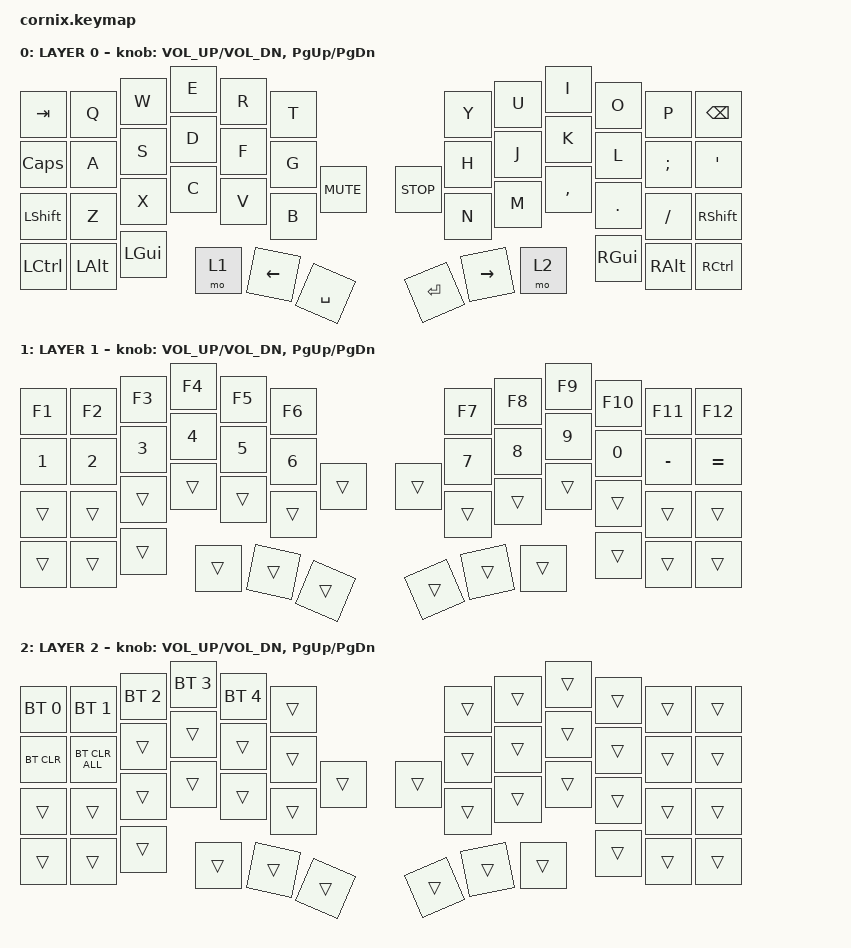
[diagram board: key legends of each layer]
/*
 * Copyright (c) 2020 The ZMK Contributors
 *
 * SPDX-License-Identifier: MIT
 */

#include <behaviors.dtsi>
#include <dt-bindings/zmk/bt.h>
#include <dt-bindings/zmk/keys.h>

/ {
    keymap {
        compatible = "zmk,keymap";

        LAYER0 {
            bindings = <
// ╷           ╷           ╷           ╷           ╷           ╷           ╷           ╷           ╷           ╷           ╷           ╷
                &kp TAB    &kp Q      &kp W      &kp E      &kp R      &kp T           &kp Y      &kp U      &kp I      &kp O      &kp P      &kp BSPC
                &kp CAPS   &kp A      &kp S      &kp D      &kp F      &kp G           &kp H      &kp J      &kp K      &kp L      &kp SEMI   &kp APOS
                &kp LSHFT  &kp Z      &kp X      &kp C      &kp V      &kp B      &kp C_MUTE    &kp C_STOP &kp N      &kp M      &kp COMMA  &kp DOT    &kp FSLH   &kp RSHFT
                                        &kp LCTRL  &kp LALT   &kp LGUI   &mo 1      &kp LEFT      &kp SPACE  &kp ENTER  &kp RIGHT  &mo 2      &kp RGUI   &kp RALT   &kp RCTRL
            >;

            sensor-bindings = <&inc_dec_kp C_VOL_UP C_VOL_DN &inc_dec_kp PG_UP PG_DN>;
            display-name = "LAYER 0";
        };

        LAYER1 {
            bindings = <
// ╷           ╷           ╷           ╷           ╷           ╷           ╷           ╷           ╷           ╷           ╷           ╷
                &kp F1     &kp F2     &kp F3     &kp F4     &kp F5     &kp F6          &kp F7     &kp F8     &kp F9     &kp F10    &kp F11    &kp F12
                &kp N1     &kp N2     &kp N3     &kp N4     &kp N5     &kp N6          &kp N7     &kp N8     &kp N9     &kp N0     &kp MINUS  &kp EQUAL
                &trans     &trans     &trans     &trans     &trans     &trans     &trans        &trans     &trans     &trans     &trans     &trans     &trans     &trans
                                        &trans     &trans     &trans     &trans     &trans        &trans     &trans     &trans     &trans     &trans     &trans     &trans
            >;

            sensor-bindings = <&inc_dec_kp C_VOL_UP C_VOL_DN &inc_dec_kp PG_UP PG_DN>;
            display-name = "LAYER 1";
        };

        LAYER2 {
            bindings = <
// ╷           ╷           ╷           ╷           ╷           ╷           ╷           ╷           ╷           ╷           ╷           ╷
                &bt BT_SEL 0    &bt BT_SEL 1    &bt BT_SEL 2    &bt BT_SEL 3    &bt BT_SEL 4    &trans         &trans          &trans          &trans          &trans          &trans          &trans
                &bt BT_CLR      &bt BT_CLR_ALL  &trans          &trans          &trans          &trans         &trans          &trans          &trans          &trans          &trans          &trans
                &trans          &trans          &trans          &trans          &trans          &trans     &trans          &trans          &trans          &trans          &trans          &trans          &trans          &trans
                                        &trans          &trans          &trans          &trans          &trans         &trans          &trans          &trans          &trans          &trans          &trans          &trans
            >;

            sensor-bindings = <&inc_dec_kp C_VOL_UP C_VOL_DN &inc_dec_kp PG_UP PG_DN>;
            display-name = "LAYER 2";
        };

        extra1 {
            status = "reserved";
            display-name = "LAYER 3";
        };

        extra2 {
            status = "reserved";
            display-name = "LAYER 4";
        };

        extra3 {
            status = "reserved";
            display-name = "LAYER 5";
        };

        extra4 {
            status = "reserved";
            display-name = "LAYER 6";
        };
    };
};
